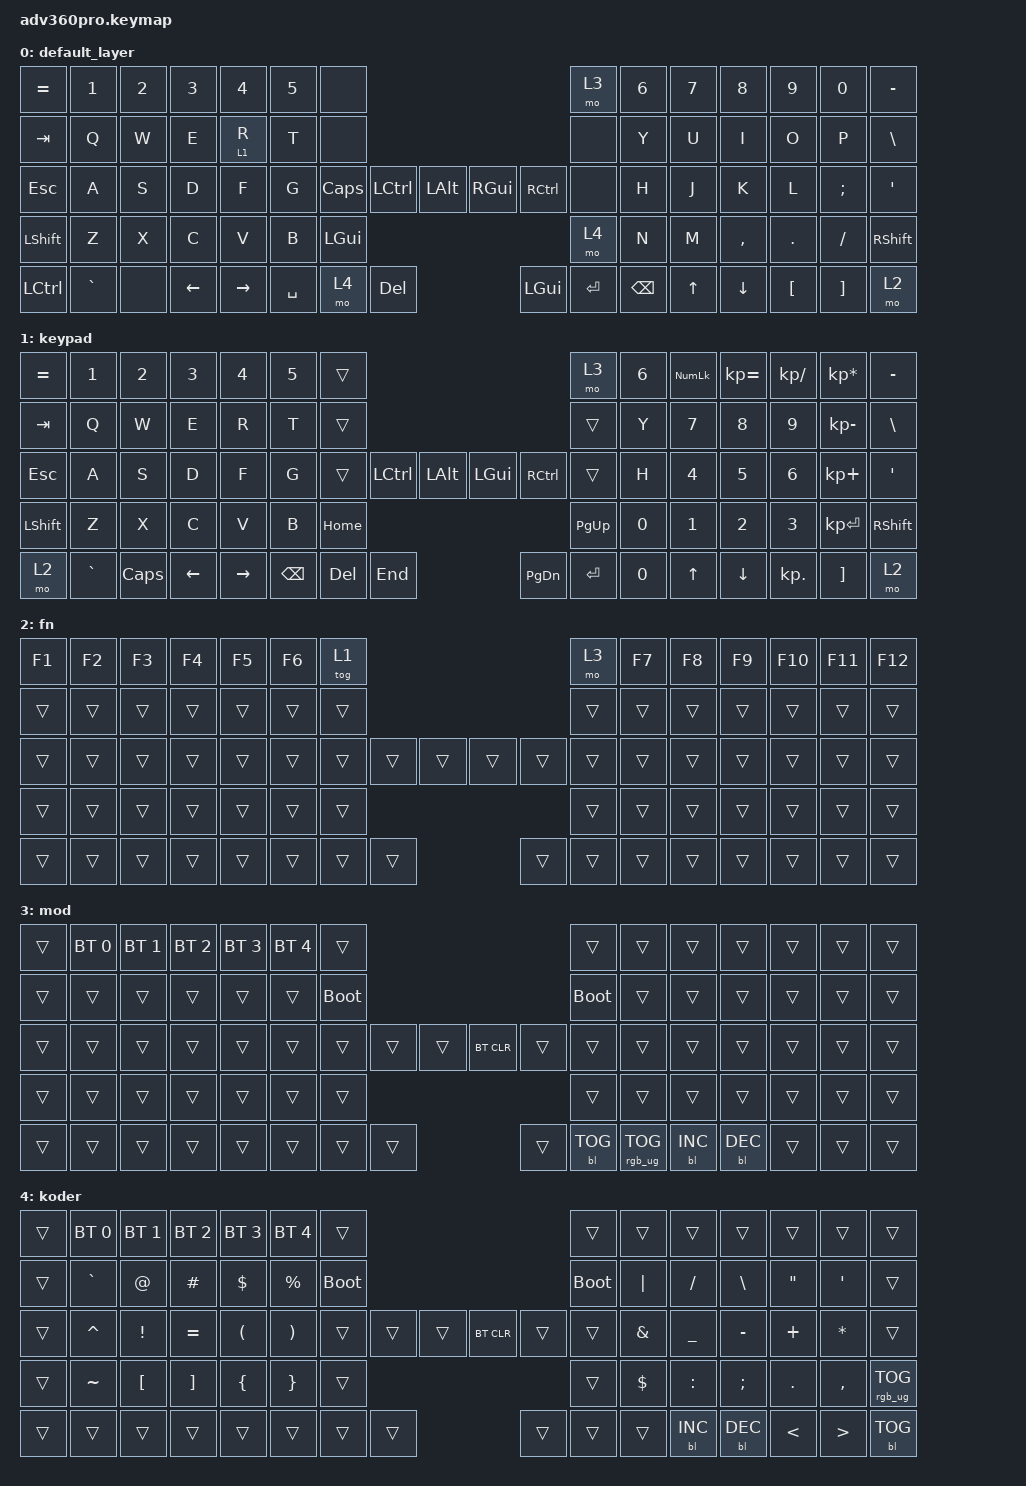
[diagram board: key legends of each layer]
#include <behaviors.dtsi>
#include <dt-bindings/zmk/backlight.h>
#include <dt-bindings/zmk/bt.h>
#include <dt-bindings/zmk/keys.h>
#include <dt-bindings/zmk/rgb.h>

/ {
    keymap {
        compatible = "zmk,keymap";

        default_layer {
            bindings = <
&kp EQUAL  &kp N1     &kp N2  &kp N3    &kp N4     &kp N5  &none                                                                                      &mo 3  &kp N6  &kp N7  &kp N8     &kp N9    &kp N0    &kp MINUS
&kp TAB    &kp Q      &kp W   &kp E     &lt 1 R    &kp T   &none                                                                                      &none  &kp Y   &kp U   &kp I      &kp O     &kp P     &kp BSLH
&kp ESC    &kp A      &kp S   &kp D     &kp F      &kp G   &kp CAPSLOCK             &kp LCTRL  &kp LALT      &kp RIGHT_GUI  &kp RCTRL                 &none  &kp H   &kp J   &kp K      &kp L     &kp SEMI  &kp SQT
&kp LSHFT  &kp Z      &kp X   &kp C     &kp V      &kp B                                       &kp LGUI      &mo 4                                              &kp N   &kp M   &kp COMMA  &kp DOT   &kp FSLH  &kp RSHFT
&kp LCTRL  &kp GRAVE  &none   &kp LEFT  &kp RIGHT                        &kp SPACE  &mo 4         &kp DELETE    &kp LEFT_GUI   &kp ENTER  &kp BACKSPACE                 &kp UP  &kp DOWN   &kp LBKT  &kp RBKT  &mo 2
            >;
        };

        keypad {
            bindings = <
&kp EQUAL  &kp N1     &kp N2    &kp N3    &kp N4     &kp N5  &trans                                                                 &mo 3  &kp N6        &kp KP_NUM  &kp KP_EQUAL  &kp KP_DIVIDE  &kp KP_MULTIPLY  &kp MINUS
&kp TAB    &kp Q      &kp W     &kp E     &kp R      &kp T   &trans                                                                  &trans  &kp Y         &kp N7      &kp N8        &kp N9         &kp KP_MINUS     &kp BSLH
&kp ESC    &kp A      &kp S     &kp D     &kp F      &kp G   &trans             &kp LCTRL  &kp LALT    &kp LGUI   &kp RCTRL          &trans  &kp H         &kp N4      &kp N5        &kp N6         &kp KP_PLUS      &kp SQT
&kp LSHFT  &kp Z      &kp X     &kp C     &kp V      &kp B                                &kp HOME    &kp PG_UP                            &kp NUMBER_0  &kp N1      &kp N2        &kp N3         &kp KP_ENTER     &kp RSHFT
&mo 2      &kp GRAVE  &kp CAPS  &kp LEFT  &kp RIGHT                  &kp BSPC  &kp DEL    &kp END     &kp PG_DN  &kp ENTER  &kp N0                       &kp UP      &kp DOWN      &kp KP_DOT     &kp RBKT         &mo 2
            >;
        };

        fn {
            bindings = <
&kp F1  &kp F2  &kp F3  &kp F4  &kp F5  &kp F6  &tog 1                                                    &mo 3  &kp F7  &kp F8  &kp F9  &kp F10  &kp F11  &kp F12
&trans  &trans  &trans  &trans  &trans  &trans  &trans                                                     &trans  &trans  &trans  &trans  &trans   &trans   &trans
&trans  &trans  &trans  &trans  &trans  &trans  &trans           &trans  &trans    &trans  &trans          &trans  &trans  &trans  &trans  &trans   &trans   &trans
&trans  &trans  &trans  &trans  &trans  &trans                          &trans    &trans                         &trans  &trans  &trans  &trans   &trans   &trans
&trans  &trans  &trans  &trans  &trans                  &trans  &trans  &trans    &trans  &trans  &trans                 &trans  &trans  &trans   &trans   &trans
            >;
        };

        mod {
            bindings = <
&trans  &bt BT_SEL 0  &bt BT_SEL 1  &bt BT_SEL 2  &bt BT_SEL 3  &bt BT_SEL 4  &trans                                                                        &trans       &trans  &trans       &trans       &trans  &trans  &trans
&trans  &trans         &trans         &trans         &trans         &trans         &bootloader                                                                  &bootloader  &trans  &trans       &trans       &trans  &trans  &trans
&trans  &trans         &trans         &trans         &trans         &trans         &trans               &trans  &trans    &bt BT_CLR  &trans                        &trans        &trans  &trans       &trans       &trans  &trans  &trans
&trans  &trans         &trans         &trans         &trans         &trans                                    &trans    &trans                                                 &trans  &trans       &trans       &trans  &trans  &trans
&trans  &trans         &trans         &trans         &trans                                    &trans  &trans  &trans    &trans       &bl BL_TOG  &rgb_ug RGB_TOG                      &bl BL_INC  &bl BL_DEC  &trans  &trans  &trans
            >;
        };

        koder {
            bindings = <
&trans  &bt BT_SEL 0  &bt BT_SEL 1  &bt BT_SEL 2  &bt BT_SEL 3  &bt BT_SEL 4  &trans                                                         &trans       &trans       &trans       &trans       &trans          &trans             &trans
&trans  &kp GRAVE     &kp AT        &kp HASH      &kp DOLLAR    &kp PERCENT   &bootloader                                                   &bootloader  &kp PIPE    &kp SLASH   &kp BSLH    &kp DQT        &kp APOS          &trans
&trans  &kp CARET     &kp EXCL      &kp EQUAL     &kp LPAR      &kp RPAR      &trans               &trans  &trans    &bt BT_CLR  &trans         &trans        &kp AMPS    &kp UNDER   &kp MINUS   &kp PLUS       &kp STAR          &trans
&trans  &kp TILDE     &kp LBKT      &kp RBKT      &kp LBRC      &kp RBRC                                 &trans    &trans                                  &kp DOLLAR  &kp COLON   &kp SEMI    &kp DOT        &kp COMMA         &rgb_ug RGB_TOG
&trans  &trans         &trans         &trans         &trans                                    &trans  &trans  &trans    &trans       &trans  &trans                           &bl BL_INC  &bl BL_DEC  &kp LESS_THAN  &kp GREATER_THAN  &bl BL_TOG
            >;
        };
    };
};
